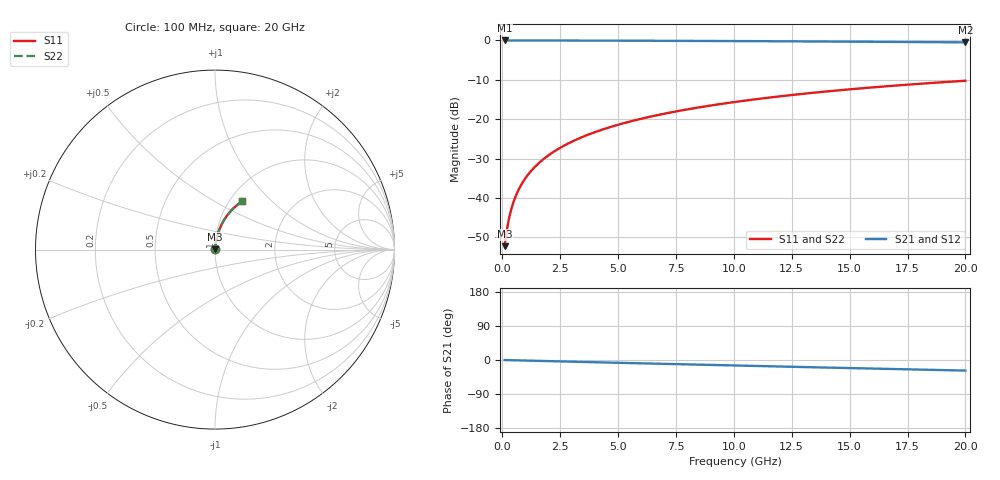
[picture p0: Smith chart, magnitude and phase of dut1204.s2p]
! Touchstone file exported from HFSS 2026.1.0
!  File:  C:/ffzhzh/LocalFiles/Ansys_Project_Files/temp_train_BSMRDL_1204_1783176544_51560.aedt
!  Generated:  10:50:18 PM Jul  4, 2026
!  Design:  BSMRDL
!  Project:  temp_train_BSMRDL_1204_1783176544_51560
! Variables:
!  h_bsmrdl = 5.13um
!  h_ox = 20um
!  h_rdl = 5um
!  h_sub = 80um
!  h_tmrdl = 5um
!  h_tsv = 80um
!  h_via = 3um
!  l_bsmrdl = 355.28um
!  l_sub = 755.28um
!  l_tmrdl = 200um
!  m_sub = 200um
!  pitch = 49.88um
!  r_tsv = 6um
!  s_tmrdl = 10um
!  w_bsmrdl = 16.03um
!  w_sub = 500um
!  w_tmrdl = 12um
!  x_tsv_center1 = 206um
!  x_tsv_center2 = 577.31um
!  x_tsv_center3 = 789.31um
!  x_tsv_center4 = 1160.62um
!  x_tsv_center5 = 1372.62um
!  x_tsv_center6 = 1743.93um
# GHz S MA R 50.000000
! Terminal data exported
! Port[1] = BSM_RDL1_1_T1
! Port[2] = BSM_RDL1_1_T2
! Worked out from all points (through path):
!   200 points, 100 MHz to 20 GHz, reference 50 ohm
!   highest |S21| = -0.01 dB at 100 MHz (marker M1); lowest = -0.5 dB at 20 GHz (marker M2)
!   group delay of S21, straight-line fit = 3.88 ps
!   lowest |S11| = -52.2 dB at 100 MHz (marker M3), VSWR 1.00, Z = 50.2 + j0.182 ohm
!   |S11| at or under -10 dB: start of sweep to end of sweep
!   |S22| runs from -52.2 to -10.2 dB; largest |S21 - S12| = 5.3e-15
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0.1  0.002453 47.8  0.9984 -0.2  0.9984 -0.2  0.002453 47.8
! Gamma 0 0 0 0
! Port Impedance 50 0 50 0
0.2  0.003996 65.2  0.9983 -0.3  0.9983 -0.3  0.003996 65.2
0.3  0.005697 72.5  0.9982 -0.5  0.9982 -0.5  0.005697 72.5
0.4  0.007439 76.2  0.9982 -0.6  0.9982 -0.6  0.007439 76.2
0.5  0.009191 78.4  0.9981 -0.8  0.9981 -0.8  0.009192 78.4
0.7  0.01269 80.7  0.998 -1.1  0.998 -1.1  0.01269 80.7
0.8  0.01443 81.4  0.998 -1.2  0.998 -1.2  0.01443 81.4
1  0.01788 82.3  0.9978 -1.5  0.9978 -1.5  0.01789 82.2
1.2  0.02132 82.7  0.9977 -1.8  0.9977 -1.8  0.02132 82.7
1.4  0.02474 83.0  0.9976 -2.1  0.9976 -2.1  0.02474 82.9
1.7  0.02985 83.1  0.9973 -2.5  0.9973 -2.5  0.02985 83.1
2  0.03495 83.1  0.9971 -3.0  0.9971 -3.0  0.03495 83.1
2.7  0.04679 82.7  0.9963 -4.0  0.9963 -4.0  0.04679 82.7
3.5  0.06022 81.9  0.9952 -5.2  0.9952 -5.2  0.06022 81.9
4.2  0.07188 81.1  0.994 -6.2  0.994 -6.2  0.07188 81.1
5  0.08509 80.1  0.9926 -7.4  0.9926 -7.4  0.08509 80.1
6.8  0.1144 77.8  0.9889 -9.9  0.9889 -9.9  0.1144 77.8
8.3  0.1383 75.8  0.9853 -12.1  0.9853 -12.1  0.1383 75.8
10.1  0.1664 73.5  0.9804 -14.6  0.9804 -14.6  0.1664 73.5
13.4  0.2162 69.2  0.9699 -19.1  0.9699 -19.1  0.2162 69.2
16.7  0.2635 64.9  0.9576 -23.6  0.9576 -23.6  0.2635 64.9
20  0.3078 60.7  0.9439 -27.9  0.9439 -27.9  0.3078 60.7
